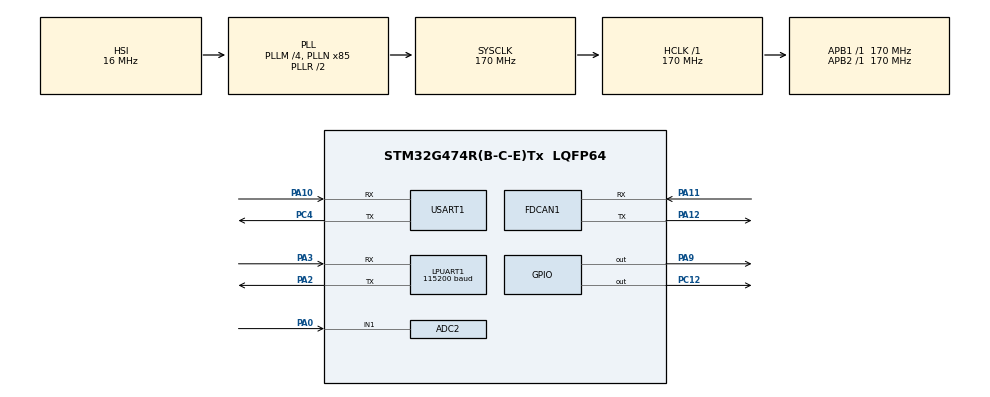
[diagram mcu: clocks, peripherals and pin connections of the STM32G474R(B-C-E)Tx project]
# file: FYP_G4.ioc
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ADC2.Channel-1\#ChannelRegularConversion=ADC_CHANNEL_1
ADC2.NbrOfConversionFlag=1
ADC2.OffsetNumber-1\#ChannelRegularConversion=ADC_OFFSET_NONE
ADC2.Rank-1\#ChannelRegularConversion=1
ADC2.SamplingTime-1\#ChannelRegularConversion=ADC_SAMPLETIME_6CYCLES_5
FDCAN1.AutoRetransmission=ENABLE
FDCAN1.CalculateBaudRateNominal=999999
FDCAN1.CalculateTimeBitNominal=1000
FDCAN1.CalculateTimeQuantumNominal=5.882352941176471
FDCAN1.DataSyncJumpWidth=11
FDCAN1.DataTimeSeg1=22
FDCAN1.DataTimeSeg2=11
FDCAN1.ExtFiltersNbr=1
FDCAN1.NominalPrescaler=1
FDCAN1.NominalSyncJumpWidth=57
FDCAN1.NominalTimeSeg1=112
FDCAN1.NominalTimeSeg2=57
FREERTOS.Events01=leg_state,Dynamic,NULL
FREERTOS.RecursiveMutexes01=sv_cmd_mtx,Dynamic,NULL,Available
FREERTOS.Tasks01=APMonitor,16,128,AP_task,Default,NULL,Dynamic,NULL,NULL;Pneu_trigger,48,128,Pneu_task,Default,NULL,Dynamic,NULL,NULL;position_cmd,40,128,pos_cmd_task,Default,NULL,Dynamic,NULL,NULL
FREERTOS.configUSE_NEWLIB_REENTRANT=1
LPUART1.BaudRate=115200
Mcu.Family=STM32G4
Mcu.Name=STM32G474R(B-C-E)Tx
Mcu.Package=LQFP64
NVIC.FDCAN1_IT0_IRQn=true\:5\:0\:false\:false\:true\:true\:true\:true\:true
NVIC.LPUART1_IRQn=true\:5\:0\:false\:false\:true\:true\:true\:true\:true
NVIC.PriorityGroup=NVIC_PRIORITYGROUP_4
NVIC.TIM5_IRQn=true\:5\:0\:false\:false\:true\:true\:true\:true\:true
NVIC.TIM6_DAC_IRQn=true\:15\:0\:false\:false\:true\:false\:false\:true\:true
NVIC.TimeBase=TIM6_DAC_IRQn
NVIC.TimeBaseIP=TIM6
NVIC.USART1_IRQn=true\:5\:0\:false\:false\:true\:true\:true\:true\:true
PA0.Mode=IN1-Single-Ended
PA0.Signal=ADC2_IN1
PA10.Mode=Asynchronous
PA10.Signal=USART1_RX
PA11.Mode=FDCAN_Activate
PA11.Signal=FDCAN1_RX
PA12.Mode=FDCAN_Activate
PA12.Signal=FDCAN1_TX
PA2.Mode=Asynchronous
PA2.Signal=LPUART1_TX
PA3.Mode=Asynchronous
PA3.Signal=LPUART1_RX
PA9.Signal=GPIO_Output
PC12.GPIO_ModeDefaultOutputPP=GPIO_MODE_OUTPUT_OD
PC12.GPIO_PuPd=GPIO_NOPULL
PC12.PinState=GPIO_PIN_SET
PC12.Signal=GPIO_Output
PC4.Mode=Asynchronous
PC4.Signal=USART1_TX
ProjectManager.HeapSize=0x200
ProjectManager.StackSize=0x400
ProjectManager.TargetToolchain=STM32CubeIDE
RCC.ADC12Freq_Value=170000000
RCC.ADC345Freq_Value=170000000
RCC.AHBFreq_Value=170000000
RCC.APB1Freq_Value=170000000
RCC.APB1TimFreq_Value=170000000
RCC.APB2Freq_Value=170000000
RCC.APB2TimFreq_Value=170000000
RCC.CortexFreq_Value=170000000
RCC.EXTERNAL_CLOCK_VALUE=12288000
RCC.HCLKFreq_Value=170000000
RCC.HSE_VALUE=24000000
RCC.HSI48_VALUE=48000000
RCC.HSI_VALUE=16000000
RCC.LSE_VALUE=32768
RCC.PLLM=RCC_PLLM_DIV4
RCC.PLLN=85
RCC.RTCClockSelection=RCC_RTCCLKSOURCE_LSE
RCC.SYSCLKFreq_VALUE=170000000
RCC.SYSCLKSource=RCC_SYSCLKSOURCE_PLLCLK
RCC.USBFreq_Value=170000000
RCC.VCOOutputFreq_Value=340000000
TIM5.PeriodNoDither=679
TIM5.Prescaler=2499
USART1.VirtualMode-Asynchronous=VM_ASYNC
VP_FREERTOS_VS_CMSIS_V2.Mode=CMSIS_V2
VP_SYS_VS_DBSignals.Mode=DisableDeadBatterySignals
VP_SYS_VS_tim6.Mode=TIM6
VP_TIM5_VS_ClockSourceINT.Mode=Internal
board=NUCLEO-G474RE

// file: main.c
/* USER CODE BEGIN Header */
/**
  ******************************************************************************
  * @file           : main.c
  * @brief          : Main program body
  ******************************************************************************
  * @attention
  *
  * Copyright (c) 2026 STMicroelectronics.
  * All rights reserved.
  *
  * This software is licensed under terms that can be found in the LICENSE file
  * in the root directory of this software component.
  * If no LICENSE file comes with this software, it is provided AS-IS.
  *
  ******************************************************************************
  */
/* USER CODE END Header */
#include "main.h"
#include "cmsis_os.h"

ADC_HandleTypeDef hadc2;

FDCAN_HandleTypeDef hfdcan1;

UART_HandleTypeDef hlpuart1;
UART_HandleTypeDef huart1;

TIM_HandleTypeDef htim5;

/* Definitions for APMonitor */
osThreadId_t APMonitorHandle;
const osThreadAttr_t APMonitor_attributes = {
  .name = "APMonitor",
  .priority = (osPriority_t) osPriorityBelowNormal,
  .stack_size = 128 * 4
};
/* Definitions for Pneu_trigger */
osThreadId_t Pneu_triggerHandle;
const osThreadAttr_t Pneu_trigger_attributes = {
  .name = "Pneu_trigger",
  .priority = (osPriority_t) osPriorityRealtime,
  .stack_size = 128 * 4
};
/* Definitions for position_cmd */
osThreadId_t position_cmdHandle;
const osThreadAttr_t position_cmd_attributes = {
  .name = "position_cmd",
  .priority = (osPriority_t) osPriorityHigh,
  .stack_size = 128 * 4
};
/* Definitions for sv_cmd_mtx */
osMutexId_t sv_cmd_mtxHandle;
const osMutexAttr_t sv_cmd_mtx_attributes = {
  .name = "sv_cmd_mtx",
  .attr_bits = osMutexRecursive,
};
/* Definitions for leg_state */
osEventFlagsId_t leg_stateHandle;
const osEventFlagsAttr_t leg_state_attributes = {
  .name = "leg_state"
};
/* USER CODE BEGIN PV */

//UART
#define RX_BUF_SIZE 8
char HLPUART1_rxBuffer [RX_BUF_SIZE];
uint8_t HUART1_rxBuffer;

uint8_t uart_rx_index = 0;
uint8_t rx_index = 0;

uint8_t rx_data_SERIAL;
uint8_t rx_data_ESP32;

//FLAGS
uint8_t command_ready = 0;
uint8_t uart1_ready = 0;
static volatile uint8_t stopped = 0;

//button state
static uint8_t prevState = false;

// Leg parameters
float L = 0.25;
float y_target;
float initial_pos;
static float total_accum_angle;
volatile float torque;
uint32_t torque_array[10];
float rate_of_torque;
static volatile leg_state_t currentState = STANCE ;

static moteus_motor_t* motor;
JMPFlagStatus JMP_FLAG = JMP_RESET;
moteus_position_cmd_t sv_cmd = MOTEUS_POSITION_JMP_CMD;

static const moteus_result_t* r;
static volatile float target_position_motor;

/* USER CODE END PV */

void SystemClock_Config(void);
static void MX_GPIO_Init(void);
static void MX_FDCAN1_Init(void);
static void MX_TIM5_Init(void);
static void MX_ADC2_Init(void);
static void MX_LPUART1_UART_Init(void);
static void MX_USART1_UART_Init(void);
void AP_task(void *argument);
void Pneu_task(void *argument);
void pos_cmd_task(void *argument);

/* USER CODE BEGIN 0 */
int __io_putchar(int ch)
{
 ITM_SendChar(ch);
 return(ch);
}

int _write(int32_t file, uint8_t *ptr, int32_t len)
{
	for (int i = 0; i < len; i++)
    {
        ITM_SendChar(*ptr++);
    }
    return len;
}
/* USER CODE END 0 */

int main(void)
{

  /* MCU Configuration--------------------------------------------------------*/

  /* Reset of all peripherals, Initializes the Flash interface and the Systick. */
  HAL_Init();

  /* Configure the system clock */
  SystemClock_Config();

  /* Initialize all configured peripherals */
  MX_GPIO_Init();
  MX_FDCAN1_Init();
  MX_TIM5_Init();
  MX_ADC2_Init();
  MX_LPUART1_UART_Init();
  MX_USART1_UART_Init();
  /* USER CODE BEGIN 2 */
  //STARTUP SEQUENCE
  //config the FDCAN tx headers here, and the filters
  HAL_Delay(5000);

  //turn on active LOW relay
  HAL_GPIO_WritePin(GPIOC, GPIO_PIN_13, GPIO_PIN_RESET);
  // pull STBY LOW for FDCAN normal mode MCP2562FD
  HAL_GPIO_WritePin(GPIOA, GPIO_PIN_9, GPIO_PIN_RESET);

  if (HAL_FDCAN_ConfigTxDelayCompensation(&hfdcan1, (hfdcan1.Init.DataPrescaler * hfdcan1.Init.DataTimeSeg1), 0U) != HAL_OK)
  {
    Error_Handler();
  }

  if (HAL_FDCAN_EnableTxDelayCompensation(&hfdcan1) != HAL_OK)
  {
    Error_Handler();
  }

  motor_init();

  HAL_UART_Receive_IT(&huart1,&HUART1_rxBuffer,1);
  HAL_UART_Receive_IT(&hlpuart1,(uint8_t*)HLPUART1_rxBuffer,1);

  moteus_position_cmd_t cmd = MOTEUS_STARTUP_SEQ_CMD;

  r = moteus_set_query(motor); //sends query to motor
  initial_pos = r->position;
  float desired_pos = (DEFAULT_POS / 360) * GEAR_RATIO + initial_pos;
  float max_pos_bounds = (120 / 360) * GEAR_RATIO + initial_pos;
  total_accum_angle = desired_pos;

  cmd.position = desired_pos;
  moteus_begin_position(motor, &cmd);
  HAL_TIM_Base_Start_IT(&htim5);

  /* USER CODE END 2 */

  /* Init scheduler */
  osKernelInitialize();

  /* Create the recursive mutex(es) */
  /* creation of sv_cmd_mtx */
  sv_cmd_mtxHandle = osMutexNew(&sv_cmd_mtx_attributes);

  /* Create the thread(s) */
  /* creation of APMonitor */
  APMonitorHandle = osThreadNew(AP_task, NULL, &APMonitor_attributes);

  /* creation of Pneu_trigger */
  Pneu_triggerHandle = osThreadNew(Pneu_task, NULL, &Pneu_trigger_attributes);

  /* creation of position_cmd */
  position_cmdHandle = osThreadNew(pos_cmd_task, NULL, &position_cmd_attributes);

  /* Create the event(s) */
  /* creation of leg_state */
  leg_stateHandle = osEventFlagsNew(&leg_state_attributes);

  /* Start scheduler */
  osKernelStart();

  /* We should never get here as control is now taken by the scheduler */

  /* Infinite loop */
  while (1)
  {

  }
}

void SystemClock_Config(void)
{
  RCC_OscInitTypeDef RCC_OscInitStruct = {0};
  RCC_ClkInitTypeDef RCC_ClkInitStruct = {0};

  /** Configure the main internal regulator output voltage
  */
  HAL_PWREx_ControlVoltageScaling(PWR_REGULATOR_VOLTAGE_SCALE1_BOOST);

  /** Initializes the RCC Oscillators according to the specified parameters
  * in the RCC_OscInitTypeDef structure.
  */
  RCC_OscInitStruct.OscillatorType = RCC_OSCILLATORTYPE_HSI;
  RCC_OscInitStruct.HSIState = RCC_HSI_ON;
  RCC_OscInitStruct.HSICalibrationValue = RCC_HSICALIBRATION_DEFAULT;
  RCC_OscInitStruct.PLL.PLLState = RCC_PLL_ON;
  RCC_OscInitStruct.PLL.PLLSource = RCC_PLLSOURCE_HSI;
  RCC_OscInitStruct.PLL.PLLM = RCC_PLLM_DIV4;
  RCC_OscInitStruct.PLL.PLLN = 85;
  RCC_OscInitStruct.PLL.PLLP = RCC_PLLP_DIV2;
  RCC_OscInitStruct.PLL.PLLQ = RCC_PLLQ_DIV2;
  RCC_OscInitStruct.PLL.PLLR = RCC_PLLR_DIV2;
  if (HAL_RCC_OscConfig(&RCC_OscInitStruct) != HAL_OK)
  {
    Error_Handler();
  }

  /** Initializes the CPU, AHB and APB buses clocks
  */
  RCC_ClkInitStruct.ClockType = RCC_CLOCKTYPE_HCLK|RCC_CLOCKTYPE_SYSCLK
                              |RCC_CLOCKTYPE_PCLK1|RCC_CLOCKTYPE_PCLK2;
  RCC_ClkInitStruct.SYSCLKSource = RCC_SYSCLKSOURCE_PLLCLK;
  RCC_ClkInitStruct.AHBCLKDivider = RCC_SYSCLK_DIV1;
  RCC_ClkInitStruct.APB1CLKDivider = RCC_HCLK_DIV1;
  RCC_ClkInitStruct.APB2CLKDivider = RCC_HCLK_DIV1;

  if (HAL_RCC_ClockConfig(&RCC_ClkInitStruct, FLASH_LATENCY_4) != HAL_OK)
  {
    Error_Handler();
  }
}

static void MX_ADC2_Init(void)
{

  ADC_ChannelConfTypeDef sConfig = {0};

  /** Common config
  */
  hadc2.Instance = ADC2;
  hadc2.Init.ClockPrescaler = ADC_CLOCK_SYNC_PCLK_DIV4;
  hadc2.Init.Resolution = ADC_RESOLUTION_12B;
  hadc2.Init.DataAlign = ADC_DATAALIGN_RIGHT;
  hadc2.Init.GainCompensation = 0;
  hadc2.Init.ScanConvMode = ADC_SCAN_DISABLE;
  hadc2.Init.EOCSelection = ADC_EOC_SINGLE_CONV;
  hadc2.Init.LowPowerAutoWait = DISABLE;
  hadc2.Init.ContinuousConvMode = DISABLE;
  hadc2.Init.NbrOfConversion = 1;
  hadc2.Init.DiscontinuousConvMode = DISABLE;
  hadc2.Init.ExternalTrigConv = ADC_SOFTWARE_START;
  hadc2.Init.ExternalTrigConvEdge = ADC_EXTERNALTRIGCONVEDGE_NONE;
  hadc2.Init.DMAContinuousRequests = DISABLE;
  hadc2.Init.Overrun = ADC_OVR_DATA_PRESERVED;
  hadc2.Init.OversamplingMode = DISABLE;
  if (HAL_ADC_Init(&hadc2) != HAL_OK)
  {
    Error_Handler();
  }

  /** Configure Regular Channel
  */
  sConfig.Channel = ADC_CHANNEL_1;
  sConfig.Rank = ADC_REGULAR_RANK_1;
  sConfig.SamplingTime = ADC_SAMPLETIME_6CYCLES_5;
  sConfig.SingleDiff = ADC_SINGLE_ENDED;
  sConfig.OffsetNumber = ADC_OFFSET_NONE;
  sConfig.Offset = 0;
  if (HAL_ADC_ConfigChannel(&hadc2, &sConfig) != HAL_OK)
  {
    Error_Handler();
  }

}

static void MX_FDCAN1_Init(void)
{

  hfdcan1.Instance = FDCAN1;
  hfdcan1.Init.ClockDivider = FDCAN_CLOCK_DIV1;
  hfdcan1.Init.FrameFormat = FDCAN_FRAME_CLASSIC;
  hfdcan1.Init.Mode = FDCAN_MODE_NORMAL;
  hfdcan1.Init.AutoRetransmission = ENABLE;
  hfdcan1.Init.TransmitPause = DISABLE;
  hfdcan1.Init.ProtocolException = DISABLE;
  hfdcan1.Init.NominalPrescaler = 1;
  hfdcan1.Init.NominalSyncJumpWidth = 57;
  hfdcan1.Init.NominalTimeSeg1 = 112;
  hfdcan1.Init.NominalTimeSeg2 = 57;
  hfdcan1.Init.DataPrescaler = 1;
  hfdcan1.Init.DataSyncJumpWidth = 11;
  hfdcan1.Init.DataTimeSeg1 = 22;
  hfdcan1.Init.DataTimeSeg2 = 11;
  hfdcan1.Init.StdFiltersNbr = 0;
  hfdcan1.Init.ExtFiltersNbr = 1;
  hfdcan1.Init.TxFifoQueueMode = FDCAN_TX_FIFO_OPERATION;
  if (HAL_FDCAN_Init(&hfdcan1) != HAL_OK)
  {
    Error_Handler();
  }

}

static void MX_LPUART1_UART_Init(void)
{

  hlpuart1.Instance = LPUART1;
  hlpuart1.Init.BaudRate = 115200;
  hlpuart1.Init.WordLength = UART_WORDLENGTH_8B;
  hlpuart1.Init.StopBits = UART_STOPBITS_1;
  hlpuart1.Init.Parity = UART_PARITY_NONE;
  hlpuart1.Init.Mode = UART_MODE_TX_RX;
  hlpuart1.Init.HwFlowCtl = UART_HWCONTROL_NONE;
  hlpuart1.Init.OneBitSampling = UART_ONE_BIT_SAMPLE_DISABLE;
  hlpuart1.Init.ClockPrescaler = UART_PRESCALER_DIV1;
  hlpuart1.AdvancedInit.AdvFeatureInit = UART_ADVFEATURE_NO_INIT;
  if (HAL_UART_Init(&hlpuart1) != HAL_OK)
  {
    Error_Handler();
  }
  if (HAL_UARTEx_SetTxFifoThreshold(&hlpuart1, UART_TXFIFO_THRESHOLD_1_8) != HAL_OK)
  {
    Error_Handler();
  }
  if (HAL_UARTEx_SetRxFifoThreshold(&hlpuart1, UART_RXFIFO_THRESHOLD_1_8) != HAL_OK)
  {
    Error_Handler();
  }
  if (HAL_UARTEx_DisableFifoMode(&hlpuart1) != HAL_OK)
  {
    Error_Handler();
  }

}

static void MX_USART1_UART_Init(void)
{

  huart1.Instance = USART1;
  huart1.Init.BaudRate = 115200;
  huart1.Init.WordLength = UART_WORDLENGTH_8B;
  huart1.Init.StopBits = UART_STOPBITS_1;
  huart1.Init.Parity = UART_PARITY_NONE;
  huart1.Init.Mode = UART_MODE_TX_RX;
  huart1.Init.HwFlowCtl = UART_HWCONTROL_NONE;
  huart1.Init.OverSampling = UART_OVERSAMPLING_16;
  huart1.Init.OneBitSampling = UART_ONE_BIT_SAMPLE_DISABLE;
  huart1.Init.ClockPrescaler = UART_PRESCALER_DIV1;
  huart1.AdvancedInit.AdvFeatureInit = UART_ADVFEATURE_NO_INIT;
  if (HAL_UART_Init(&huart1) != HAL_OK)
  {
    Error_Handler();
  }
  if (HAL_UARTEx_SetTxFifoThreshold(&huart1, UART_TXFIFO_THRESHOLD_1_8) != HAL_OK)
  {
    Error_Handler();
  }
  if (HAL_UARTEx_SetRxFifoThreshold(&huart1, UART_RXFIFO_THRESHOLD_1_8) != HAL_OK)
  {
    Error_Handler();
  }
  if (HAL_UARTEx_DisableFifoMode(&huart1) != HAL_OK)
  {
    Error_Handler();
  }

}

static void MX_TIM5_Init(void)
{

  TIM_ClockConfigTypeDef sClockSourceConfig = {0};
  TIM_MasterConfigTypeDef sMasterConfig = {0};

  htim5.Instance = TIM5;
  htim5.Init.Prescaler = 2499;
  htim5.Init.CounterMode = TIM_COUNTERMODE_UP;
  htim5.Init.Period = 679;
  htim5.Init.ClockDivision = TIM_CLOCKDIVISION_DIV1;
  htim5.Init.AutoReloadPreload = TIM_AUTORELOAD_PRELOAD_DISABLE;
  if (HAL_TIM_Base_Init(&htim5) != HAL_OK)
  {
    Error_Handler();
  }
  sClockSourceConfig.ClockSource = TIM_CLOCKSOURCE_INTERNAL;
  if (HAL_TIM_ConfigClockSource(&htim5, &sClockSourceConfig) != HAL_OK)
  {
    Error_Handler();
  }
  sMasterConfig.MasterOutputTrigger = TIM_TRGO_RESET;
  sMasterConfig.MasterSlaveMode = TIM_MASTERSLAVEMODE_DISABLE;
  if (HAL_TIMEx_MasterConfigSynchronization(&htim5, &sMasterConfig) != HAL_OK)
  {
    Error_Handler();
  }

}

static void MX_GPIO_Init(void)
{
  GPIO_InitTypeDef GPIO_InitStruct = {0};

  /* GPIO Ports Clock Enable */
  __HAL_RCC_GPIOA_CLK_ENABLE();
  __HAL_RCC_GPIOC_CLK_ENABLE();

  /*Configure GPIO pin Output Level */
  HAL_GPIO_WritePin(GPIOA, GPIO_PIN_9, GPIO_PIN_RESET);

  /*Configure GPIO pin Output Level */
  HAL_GPIO_WritePin(GPIOC, GPIO_PIN_12, GPIO_PIN_SET);

  /*Configure GPIO pin : PA9 */
  GPIO_InitStruct.Pin = GPIO_PIN_9;
  GPIO_InitStruct.Mode = GPIO_MODE_OUTPUT_PP;
  GPIO_InitStruct.Pull = GPIO_NOPULL;
  GPIO_InitStruct.Speed = GPIO_SPEED_FREQ_LOW;
  HAL_GPIO_Init(GPIOA, &GPIO_InitStruct);

  /*Configure GPIO pin : PC12 */
  GPIO_InitStruct.Pin = GPIO_PIN_12;
  GPIO_InitStruct.Mode = GPIO_MODE_OUTPUT_OD;
  GPIO_InitStruct.Pull = GPIO_NOPULL;
  GPIO_InitStruct.Speed = GPIO_SPEED_FREQ_LOW;
  HAL_GPIO_Init(GPIOC, &GPIO_InitStruct);

}

/* USER CODE BEGIN 4 */
void HAL_FDCAN_RxFifo0Callback(FDCAN_HandleTypeDef *hfdcan, uint32_t RxFifo0ITs)
{
	// Check if the NEW_MESSAGE bit is set to 1 inside the RxFifo0ITs variable"
	if ((RxFifo0ITs & FDCAN_IT_RX_FIFO0_NEW_MESSAGE)!= 0)
	{
		moteus_fdcan_rx_callback(hfdcan);
	}
}

void HAL_UART_RxCpItCallback(UART_HandleTypeDef *huart)
{

	if (huart->Instance == USART1)
	{
//			char msg [10];
//			sprintf(msg, "%02X\r\n", rx_data_ESP32);
//			HAL_UART_Transmit(&hlpuart1,(uint8_t*)msg,strlen(msg),10);
		HUART1_rxBuffer = rx_data_ESP32;

		if (HUART1_rxBuffer == 0x01)  // if X button is pressed
		{
			if (prevState == false)
			{
			  prevState = true;
			  stopped = 1;
			  motor_stop();

			  HAL_UART_Transmit(&hlpuart1, (uint8_t*)"Motor stopped\r\n", 15, 100);
			  HAL_GPIO_WritePin(GPIOC, GPIO_PIN_12, GPIO_PIN_SET);
			}

			else
			{
			  HAL_GPIO_WritePin(GPIOC, GPIO_PIN_12, GPIO_PIN_RESET);
			  target_position_motor= r->position;
			  stopped = 0;
			  prevState = false;
			}

		}
		else if (HUART1_rxBuffer == 0x02) // if circle button is pressed
		{
			  HAL_GPIO_WritePin(GPIOC, GPIO_PIN_12, GPIO_PIN_RESET);
			  target_position_motor= r->position;
			  osEventFlagsSet(leg_stateHandle, AP_EVENT);

		}
		HUART1_rxBuffer = 0;

		HAL_UART_Receive_IT(huart, (uint8_t *)&rx_data_ESP32, 1);

	}
}

void motor_init(void)
{
    // Initialize CAN peripheral
    moteus_can_init(&hfdcan1);

    // Create motor instance (ID 1)
    motor = moteus_init(&hfdcan1, 1);
    if (!motor) {
    	char failed_msg[]="Failed to initialize motor\r\n";
    	HAL_UART_Transmit(&hlpuart1,(uint8_t*)failed_msg,sizeof(failed_msg),10);
        return;
    }

    else
    {
    	char sucess_msg[]="Motor Initialised!\r\n";
    	HAL_UART_Transmit(&hlpuart1,(uint8_t*)sucess_msg,sizeof(sucess_msg),10);
    }

    // Optional: reduce timeout for faster failure detection
    motor->timeout_ms = 100;
}

void motor_stop(void)
{
    const moteus_result_t* r = moteus_set_stop(motor);
    if (r) {
        printf("Motor stopped.\n");
    }
}

void print_motor_state(void)
{
    const moteus_result_t* r = moteus_set_query(motor);

    if (r) {
        printf("%s, %.3f rev, %.3f rev/s, %.3f Nm, %.1f V, %.1f C, %.1f A, %.1f A\r\n", \
         		moteus_mode_str(r->mode), r->position, r->velocity ,r->torque,r->voltage,r->temperature, r->q_current, r->d_current );
//        printf("Mode: %s\r\n", moteus_mode_str(r->mode));
//        printf("Position: %.3f rev\r\n", r->position);
//        printf("Velocity: %.3f rev/s\r\n", r->velocity);
//        printf("Torque: %.3f Nm\r\n", r->torque);
//        printf("Voltage: %.1f V\r\n", r->voltage);
//        printf("Temperature: %.1f C\r\n", r->temperature);

        if (r->fault != MOTEUS_FAULT_NONE) {
            printf("FAULT: %s\r\n", moteus_fault_str(r->fault));
        }
    } else {
        printf("Query failed: %s\r\n", moteus_error_str(motor->last_error));
    }
}

void apply_torque(float torque_nm)
{
    printf("Applying %.2f Nm torque...\n", torque_nm);

    const moteus_result_t* r = moteus_set_torque(motor, torque_nm);
    if (r) {
        printf("Torque applied. Measured: %.3f Nm\n", r->torque);
    } else {
        printf("Command failed: %s\n", moteus_error_str(motor->last_error));
    }
}

static leg_state_t lookup_table(float rate_of_torque, float torque)
{

	if (rate_of_torque<0.05f && torque > 0.5f && torque < 1.3f)
	{
		currentState = STANCE;
	}

	else if (rate_of_torque<0 && torque < 1.0f && currentState == STANCE)
	{
		currentState = TAKEOFF;
	}

	else if (rate_of_torque<0.01f && rate_of_torque>-0.01f && torque > -0.1f && torque < 0.1f && currentState == TAKEOFF)
	{
		currentState = INAIR;
	}

	else if (rate_of_torque > 3.0f && torque > 3.0f && currentState == INAIR)
	{
		currentState = BRACE;
	}

	else if (rate_of_torque < 0.05f && torque > 0.5f && torque < 1.3f && currentState == BRACE)
	{
	  currentState = STANCE;
	}

	return currentState;
}

leg_state_t state_supervision(float rate_of_torque, float torque)
{
	currentState = lookup_table(rate_of_torque, torque);

    switch (currentState)
    {
		case STANCE :
		{
			sv_cmd.kp_scale = 2.0f;
			sv_cmd.kd_scale = 0.3f;
			return currentState;
		}

		case TAKEOFF :
		{
			sv_cmd.kp_scale = 1.5f;
			sv_cmd.kd_scale = 0.01f;
			osEventFlagsSet(leg_stateHandle, PNEU_EVENT);
			return currentState;
		}
		case INAIR :
		{
			sv_cmd.kp_scale = 1.5f;
			sv_cmd.kd_scale = 0.01f;
			return currentState;
		}
		case BRACE :
		{
			sv_cmd.kp_scale = 2.0f;
			sv_cmd.kd_scale = 0.01f;
			return currentState;
		}

		default :
		{
			return currentState;
		}
    }

}

/* USER CODE END 4 */

void AP_task(void *argument)
{
  /* USER CODE BEGIN 5 */
  /* Infinite loop */
  for(;;)
  {
	osEventFlagsWait(leg_stateHandle, AP_EVENT, osFlagsWaitAll, osWaitForever);
	// run code to read ADC value, then do compensation calculation.

	//finally set the flag for query event
  }
  /* USER CODE END 5 */
}

void Pneu_task(void *argument)
{
  for(;;)
  {
    osDelay(1);
  }
}

void pos_cmd_task(void *argument)
{
  /* USER CODE BEGIN pos_cmd_task */
  /* Infinite loop */
  for(;;)
  {
	    osEventFlagsWait(leg_stateHandle,POS_EVENT,osFlagsWaitAll,osWaitForever);
	    static uint8_t counter = 0;
	    static float torque_array[10];
	    //once the flag is set, send command to JUMP and set the flag to start polling continuously.
	    moteus_begin_query(motor);
	    r = &motor->result;
		torque_array[counter++] = r->torque;
	    osMutexAcquire(sv_cmd_mtxHandle, osWaitForever);
		if (!stopped)
		{
			JMP_cmd(motor,target_position_motor);
		}
	    sMutexRelease(sv_cmd_mtxHandle);

		if (counter == 10)
		{
			float rate_of_torque=(torque_array[9]-torque_array[0]) / (10*0.01f);
			float torque = torque_array[9];
			counter = 0;
			state_supervision(rate_of_torque,torque); //TO BE CHANGED

		}

  }
  /* USER CODE END pos_cmd_task */
}

void HAL_TIM_PeriodElapsedCallback(TIM_HandleTypeDef *htim)
{
  if (htim->Instance == TIM6)
  {
    HAL_IncTick();
  }
  /* USER CODE BEGIN Callback 1 */
	osEventFlagsSet(leg_stateHandle,POS_EVENT);

  /* USER CODE END Callback 1 */
}

void Error_Handler(void)
{
  __disable_irq();
  while (1)
  {
  }
}
